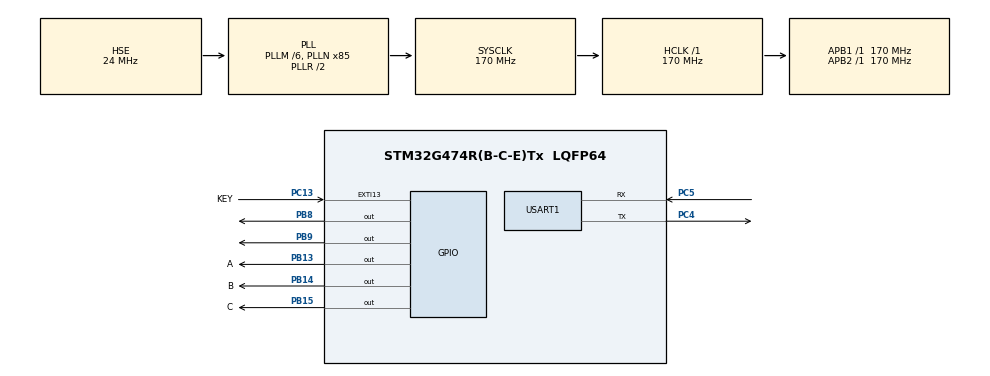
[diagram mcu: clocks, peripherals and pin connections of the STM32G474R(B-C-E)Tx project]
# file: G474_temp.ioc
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Mcu.Family=STM32G4
Mcu.Name=STM32G474R(B-C-E)Tx
Mcu.Package=LQFP64
NVIC.EXTI15_10_IRQn=true\:0\:0\:false\:false\:true\:true\:true\:true
NVIC.PriorityGroup=NVIC_PRIORITYGROUP_4
NVIC.USART1_IRQn=true\:0\:0\:false\:false\:true\:true\:true\:true
PA13.Mode=Serial_Wire
PA13.Signal=SYS_JTMS-SWDIO
PA14.Mode=Serial_Wire
PA14.Signal=SYS_JTCK-SWCLK
PB13.GPIO_Label=A
PB13.Signal=GPIO_Output
PB14.GPIO_Label=B
PB14.Signal=GPIO_Output
PB15.GPIO_Label=C
PB15.Signal=GPIO_Output
PB8-BOOT0.GPIO_FM8=__NULL
PB8-BOOT0.GPIO_ModeDefaultOutputPP=GPIO_MODE_OUTPUT_OD
PB8-BOOT0.GPIO_PuPd=GPIO_PULLUP
PB8-BOOT0.GPIO_Speed=GPIO_SPEED_FREQ_VERY_HIGH
PB8-BOOT0.Signal=GPIO_Output
PB9.GPIO_ModeDefaultOutputPP=GPIO_MODE_OUTPUT_OD
PB9.GPIO_PuPd=GPIO_PULLUP
PB9.GPIO_Speed=GPIO_SPEED_FREQ_VERY_HIGH
PB9.Signal=GPIO_Output
PC13.GPIO_Label=KEY
PC13.Signal=GPXTI13
PC14-OSC32_IN.Mode=LSE-External-Oscillator
PC14-OSC32_IN.Signal=RCC_OSC32_IN
PC15-OSC32_OUT.Mode=LSE-External-Oscillator
PC15-OSC32_OUT.Signal=RCC_OSC32_OUT
PC4.Mode=Asynchronous
PC4.Signal=USART1_TX
PC5.Mode=Asynchronous
PC5.Signal=USART1_RX
PF0-OSC_IN.Mode=HSE-External-Oscillator
PF0-OSC_IN.Signal=RCC_OSC_IN
PF1-OSC_OUT.Mode=HSE-External-Oscillator
PF1-OSC_OUT.Signal=RCC_OSC_OUT
ProjectManager.HeapSize=0x200
ProjectManager.StackSize=0x400
ProjectManager.TargetToolchain=MDK-ARM V5.32
RCC.ADC12Freq_Value=170000000
RCC.ADC345Freq_Value=170000000
RCC.AHBFreq_Value=170000000
RCC.APB1Freq_Value=170000000
RCC.APB1TimFreq_Value=170000000
RCC.APB2Freq_Value=170000000
RCC.APB2TimFreq_Value=170000000
RCC.CortexFreq_Value=170000000
RCC.EXTERNAL_CLOCK_VALUE=12288000
RCC.HCLKFreq_Value=170000000
RCC.HSE_VALUE=24000000
RCC.HSI48_VALUE=48000000
RCC.HSI_VALUE=16000000
RCC.PLLM=RCC_PLLM_DIV6
RCC.PLLN=85
RCC.PLLSourceVirtual=RCC_PLLSOURCE_HSE
RCC.RTCClockSelection=RCC_RTCCLKSOURCE_LSE
RCC.SYSCLKFreq_VALUE=170000000
RCC.SYSCLKSource=RCC_SYSCLKSOURCE_PLLCLK
RCC.USBFreq_Value=170000000
RCC.VCOOutputFreq_Value=340000000
USART1.VirtualMode-Asynchronous=VM_ASYNC
VP_SYS_VS_DBSignals.Mode=DisableDeadBatterySignals
board=NUCLEO-G474RE

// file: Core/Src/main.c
/* USER CODE BEGIN Header */
/**
  ******************************************************************************
  * @file           : main.c
  * @brief          : Main program body
  ******************************************************************************
  * @attention
  *
  * Copyright (c) 2023 STMicroelectronics.
  * All rights reserved.
  *
  * This software is licensed under terms that can be found in the LICENSE file
  * in the root directory of this software component.
  * If no LICENSE file comes with this software, it is provided AS-IS.
  *
  ******************************************************************************
  */
/* USER CODE END Header */
#include "main.h"
#include "usart.h"
#include "gpio.h"

/* USER CODE BEGIN Includes */
#include "delay.h"
#include "myusart1.h"
#include "OLED_I2C.h"
/* USER CODE END Includes */

void SystemClock_Config(void);

int main(void)
{

  /* MCU Configuration--------------------------------------------------------*/

  /* Reset of all peripherals, Initializes the Flash interface and the Systick. */
  HAL_Init();

  /* Configure the system clock */
  SystemClock_Config();

  /* Initialize all configured peripherals */
  MX_GPIO_Init();
  MX_USART1_UART_Init();
  /* USER CODE BEGIN 2 */
  delay_init(170);
  MyUSART1_Init(&huart1);
  OLED_Init();
  OLED_CLS();
  OLED_ShowStr(40,3,(unsigned char *)"START",2);
  uint8_t Rx_data[100];
  /* USER CODE END 2 */

  /* Infinite loop */
  /* USER CODE BEGIN WHILE */
  while (1)
  {
    if(MyUSART1_ReadLine(Rx_data))
    {
      MyUSART1_WriteLine((uint8_t *)"你发送的是");
      MyUSART1_WriteLine(Rx_data);
      if(Rx_data[0]=='0'&& Rx_data[1]=='1')
        OLED_ShowStr(40,3,(unsigned char *)"RIGHT",2);
      else
        OLED_ShowStr(40,3,(unsigned char *)"FALSE",2);
    }
    delay_ms(5);

    /* USER CODE END WHILE */

  }
}

void SystemClock_Config(void)
{
  RCC_OscInitTypeDef RCC_OscInitStruct = {0};
  RCC_ClkInitTypeDef RCC_ClkInitStruct = {0};

  /** Configure the main internal regulator output voltage
  */
  HAL_PWREx_ControlVoltageScaling(PWR_REGULATOR_VOLTAGE_SCALE1_BOOST);

  /** Initializes the RCC Oscillators according to the specified parameters
  * in the RCC_OscInitTypeDef structure.
  */
  RCC_OscInitStruct.OscillatorType = RCC_OSCILLATORTYPE_HSE;
  RCC_OscInitStruct.HSEState = RCC_HSE_ON;
  RCC_OscInitStruct.PLL.PLLState = RCC_PLL_ON;
  RCC_OscInitStruct.PLL.PLLSource = RCC_PLLSOURCE_HSE;
  RCC_OscInitStruct.PLL.PLLM = RCC_PLLM_DIV6;
  RCC_OscInitStruct.PLL.PLLN = 85;
  RCC_OscInitStruct.PLL.PLLP = RCC_PLLP_DIV2;
  RCC_OscInitStruct.PLL.PLLQ = RCC_PLLQ_DIV2;
  RCC_OscInitStruct.PLL.PLLR = RCC_PLLR_DIV2;
  if (HAL_RCC_OscConfig(&RCC_OscInitStruct) != HAL_OK)
  {
    Error_Handler();
  }

  /** Initializes the CPU, AHB and APB buses clocks
  */
  RCC_ClkInitStruct.ClockType = RCC_CLOCKTYPE_HCLK|RCC_CLOCKTYPE_SYSCLK
                              |RCC_CLOCKTYPE_PCLK1|RCC_CLOCKTYPE_PCLK2;
  RCC_ClkInitStruct.SYSCLKSource = RCC_SYSCLKSOURCE_PLLCLK;
  RCC_ClkInitStruct.AHBCLKDivider = RCC_SYSCLK_DIV1;
  RCC_ClkInitStruct.APB1CLKDivider = RCC_HCLK_DIV1;
  RCC_ClkInitStruct.APB2CLKDivider = RCC_HCLK_DIV1;

  if (HAL_RCC_ClockConfig(&RCC_ClkInitStruct, FLASH_LATENCY_4) != HAL_OK)
  {
    Error_Handler();
  }
}

/* USER CODE BEGIN 4 */
void HAL_GPIO_EXTI_Callback(uint16_t GPIO_PIN)
{
	static uint16_t num = 0;
	if(KEY_Pin)
	{
		switch(num++)
		{
			case 0 : 	HAL_GPIO_WritePin(GPIOB,  A_Pin|B_Pin|C_Pin , GPIO_PIN_RESET);
						OLED_CLS();
						OLED_ShowChar(60,3,'0',2);
						break;
			case 1 : 	HAL_GPIO_WritePin(GPIOB,  C_Pin|B_Pin , GPIO_PIN_RESET);
						HAL_GPIO_WritePin(GPIOB,  A_Pin 	  , GPIO_PIN_SET  );
						OLED_CLS();
						OLED_ShowChar(60,3,'1',2);
						break;
			case 2 : 	HAL_GPIO_WritePin(GPIOB,  A_Pin|C_Pin , GPIO_PIN_RESET);
						HAL_GPIO_WritePin(GPIOB,  B_Pin 	  , GPIO_PIN_SET  );
						OLED_CLS();
						OLED_ShowChar(60,3,'2',2);
						break;
			case 3 : 	HAL_GPIO_WritePin(GPIOB,  A_Pin 	  , GPIO_PIN_RESET);
						HAL_GPIO_WritePin(GPIOB,  B_Pin|C_Pin , GPIO_PIN_SET  );
						OLED_CLS();
						OLED_ShowChar(60,3,'3',2);
						break;
			case 4 : 	HAL_GPIO_WritePin(GPIOB,  B_Pin|C_Pin , GPIO_PIN_RESET);
						HAL_GPIO_WritePin(GPIOB,  A_Pin		  , GPIO_PIN_SET  );
						OLED_CLS();
						OLED_ShowChar(60,3,'4',2);
						break;
			case 5 : 	HAL_GPIO_WritePin(GPIOB,  B_Pin       , GPIO_PIN_RESET);
						HAL_GPIO_WritePin(GPIOB,  A_Pin|C_Pin , GPIO_PIN_SET  );
						OLED_CLS();
						OLED_ShowChar(60,3,'5',2);
						break;
			case 6 : 	HAL_GPIO_WritePin(GPIOB,  C_Pin       , GPIO_PIN_RESET);
						HAL_GPIO_WritePin(GPIOB,  A_Pin|B_Pin , GPIO_PIN_SET  );
						OLED_CLS();
						OLED_ShowChar(60,3,'6',2);
						break;
			case 7 : 	HAL_GPIO_WritePin(GPIOB,  A_Pin|B_Pin|C_Pin , GPIO_PIN_SET);
						OLED_CLS();
						OLED_ShowChar(60,3,'7',2);
						break;
			default :   num = 0;
		}

	}
}
/* USER CODE END 4 */

void Error_Handler(void)
{
  __disable_irq();
  while (1)
  {
  }
}
